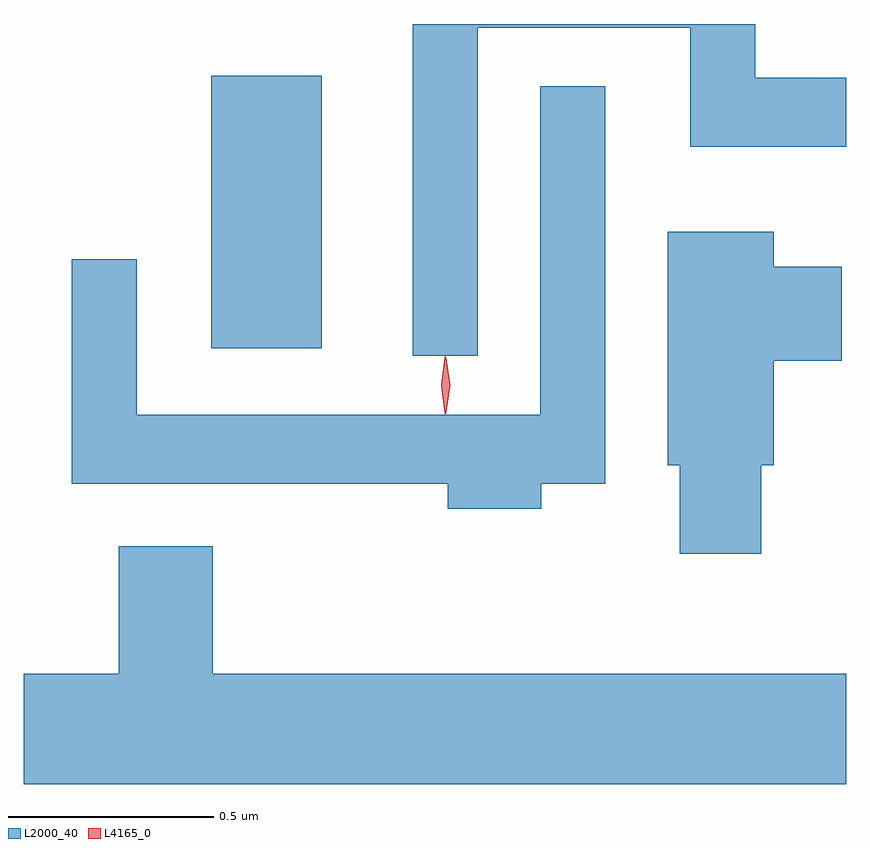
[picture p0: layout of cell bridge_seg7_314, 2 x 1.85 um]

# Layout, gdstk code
import gdstk
lib = gdstk.Library(unit=1e-6, precision=1e-09)
def R(c, l, rs):  # rectangles x0, y0, x1, y1
    for r in rs: c.add(gdstk.rectangle(r[:2], r[2:], *l))
def P(c, l, *ps):  # polygons
    for p in ps: c.add(gdstk.Polygon(p, *l))
L2000_40 = (2000, 40)
L4165_0 = (4165, 0)

bridge_seg7_314 = lib.new_cell('bridge_seg7_314')
R(bridge_seg7_314, L2000_40, [(1338.586,1793.076,1338.854,1793.739)])
P(bridge_seg7_314, L2000_40, [(1339.234,1793.856),(1339.751,1793.856),(1339.751,1793.566),(1340.13,1793.566),(1340.13,1793.734),(1339.909,1793.734),(1339.909,1793.865),(1339.076,1793.865),(1339.076,1793.058),(1339.234,1793.058)],
  [(1339.389,1792.746),(1339.544,1792.746),(1339.544,1793.713),(1339.386,1793.713),(1339.386,1792.914),(1338.404,1792.914),(1338.404,1793.293),(1338.246,1793.293),(1338.246,1792.746),(1339.161,1792.746),(1339.161,1792.686),(1339.389,1792.686)],
  [(1339.924,1792.791),(1339.954,1792.791),(1339.954,1793.046),(1340.119,1793.046),(1340.119,1793.274),(1339.954,1793.274),(1339.954,1793.359),(1339.696,1793.359),(1339.696,1792.791),(1339.726,1792.791),(1339.726,1792.576),(1339.924,1792.576)],
  [(1340.13,1792.284),(1338.589,1792.284),(1338.589,1792.594),(1338.361,1792.594),(1338.361,1792.284),(1338.13,1792.284),(1338.13,1792.016),(1340.13,1792.016)])
P(bridge_seg7_314, L4165_0, [(1339.154,1792.917),(1339.145,1792.986),(1339.154,1793.056),(1339.155,1793.056),(1339.156,1793.056),(1339.165,1792.986),(1339.156,1792.917),(1339.155,1792.917)],
  [(1339.157,1792.919),(1339.156,1792.92),(1339.147,1792.986),(1339.156,1793.052),(1339.156,1793.053),(1339.157,1793.052),(1339.167,1792.986),(1339.157,1792.92)])

lib.write_gds('bridge_seg7_314.gds')
